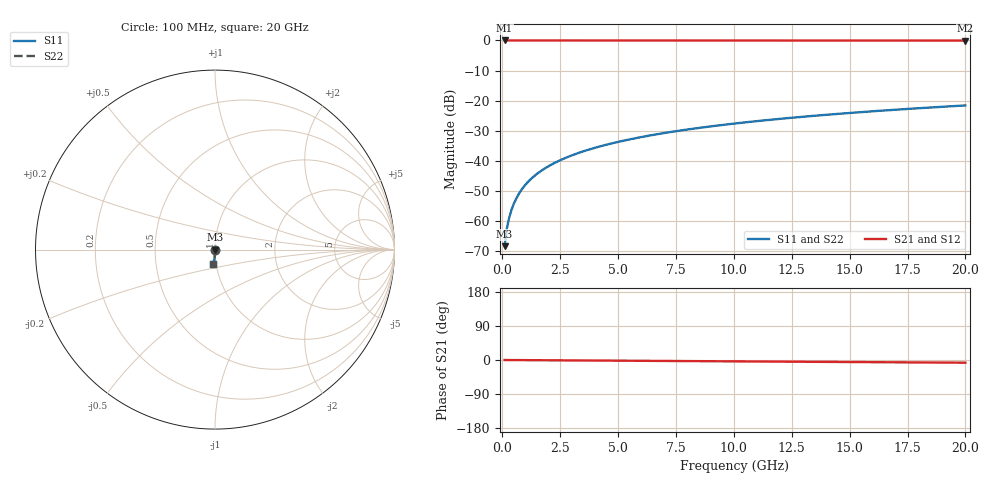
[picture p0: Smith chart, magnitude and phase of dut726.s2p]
! Touchstone file exported from HFSS 2026.1.0
!  File:  C:/ffzhzh/LocalFiles/Ansys_Project_Files/temp_train_TSV_726_1783182434_51560.aedt
!  Generated:  12:28:28 AM Jul  5, 2026
!  Design:  TSV
!  Project:  temp_train_TSV_726_1783182434_51560
! Variables:
!  h_bsmrdl = 2um
!  h_ox = 20um
!  h_rdl = 5um
!  h_sub = 54.82um
!  h_tmrdl = 5um
!  h_tsv = 54.82um
!  h_via = 3um
!  l_bsmrdl = 300um
!  l_sub = 429um
!  l_tmrdl = 200um
!  m_sub = 200um
!  pitch = 34.16um
!  r_tsv = 14.5um
!  s_tmrdl = 10um
!  w_bsmrdl = 18um
!  w_sub = 500um
!  w_tmrdl = 12um
!  x_tsv_center1 = 206um
!  x_tsv_center2 = 524um
!  x_tsv_center3 = 736um
!  x_tsv_center4 = 1054um
!  x_tsv_center5 = 1266um
!  x_tsv_center6 = 1584um
# GHz S MA R 50.000000
! Terminal data exported
! Port[1] = TSV1_1_T1
! Port[2] = TSV1_1_T2
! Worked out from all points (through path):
!   200 points, 100 MHz to 20 GHz, reference 50 ohm
!   highest |S21| = 0.00 dB at 100 MHz (marker M1); lowest = 0.0 dB at 20 GHz (marker M2)
!   lowest |S11| = -68.3 dB at 100 MHz (marker M3), VSWR 1.00, Z = 50 - j0.0378 ohm
!   |S11| at or under -10 dB: start of sweep to end of sweep
!   |S22| runs from -68.3 to -21.6 dB; largest |S21 - S12| = 0
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0.1  0.0003844 -79.8  0.9999 -0.0  0.9999 -0.0  0.0003844 -79.8
! Gamma 0 0 0 0
! Port Impedance 50 0 50 0
0.2  0.0007652 -83.9  0.9999 -0.1  0.9999 -0.1  0.0007652 -83.9
0.3  0.001155 -85.0  0.9999 -0.1  0.9999 -0.1  0.001155 -85.0
0.4  0.001552 -85.5  0.9999 -0.2  0.9999 -0.2  0.001552 -85.5
0.5  0.001955 -85.8  0.9998 -0.2  0.9998 -0.2  0.001955 -85.8
0.7  0.002776 -86.3  0.9998 -0.3  0.9998 -0.3  0.002776 -86.3
0.8  0.00319 -86.6  0.9998 -0.3  0.9998 -0.3  0.00319 -86.6
1  0.004022 -87.0  0.9998 -0.4  0.9998 -0.4  0.004022 -87.0
1.2  0.004855 -87.4  0.9997 -0.4  0.9997 -0.4  0.004855 -87.4
1.4  0.005689 -87.8  0.9997 -0.5  0.9997 -0.5  0.005689 -87.8
1.7  0.006938 -88.2  0.9997 -0.6  0.9997 -0.6  0.006938 -88.2
2  0.008187 -88.5  0.9997 -0.7  0.9997 -0.7  0.008187 -88.5
2.7  0.0111 -89.1  0.9996 -1.0  0.9996 -1.0  0.0111 -89.1
3.5  0.01443 -89.7  0.9995 -1.3  0.9995 -1.3  0.01443 -89.7
4.2  0.01736 -90.1  0.9994 -1.5  0.9994 -1.5  0.01736 -90.1
5  0.0207 -90.5  0.9993 -1.8  0.9993 -1.8  0.0207 -90.5
6.8  0.02823 -91.3  0.999 -2.4  0.999 -2.4  0.02823 -91.3
8.3  0.03452 -91.9  0.9988 -3.0  0.9988 -3.0  0.03452 -91.9
10.1  0.04206 -92.7  0.9984 -3.6  0.9984 -3.6  0.04206 -92.7
13.4  0.05588 -94.0  0.9976 -4.8  0.9976 -4.8  0.05588 -94.0
16.7  0.06966 -95.2  0.9967 -6.0  0.9967 -6.0  0.06966 -95.2
20  0.0834 -96.4  0.9955 -7.1  0.9955 -7.1  0.0834 -96.4
